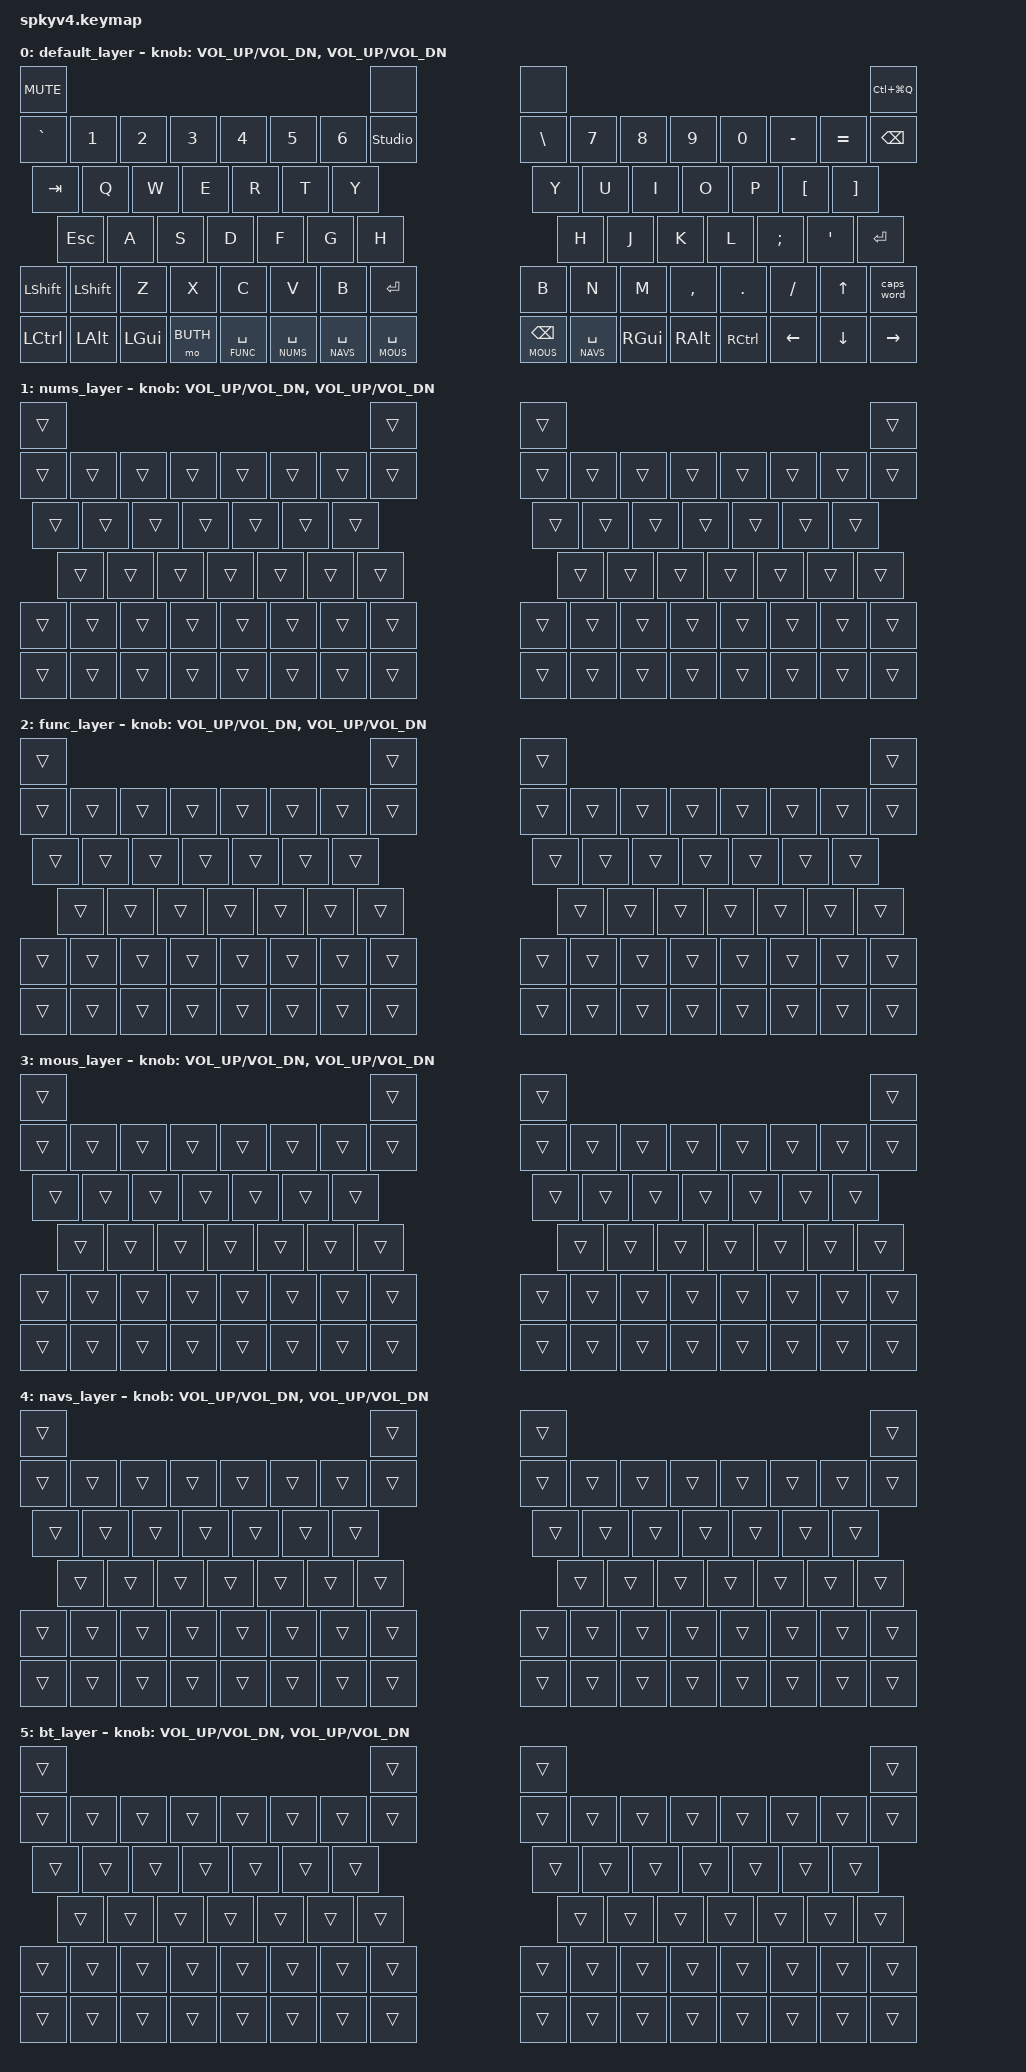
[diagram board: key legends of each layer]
#include <behaviors.dtsi>
#include <dt-bindings/zmk/keys.h>
#include <dt-bindings/zmk/bt.h>
#include <dt-bindings/zmk/pointing.h>


#define HYP LS(LC(LA(LGUI)))
#define MEH LS(LC(LALT))
#define LOCK LC(LG(Q))

#define BASE    0
#define NAVS    4
#define MOUS    3
#define FUNC    2
#define NUMS    1
#define BUTH    5

#define COMBO(NAME, BINDINGS, KEYPOS) \
  combo_##NAME { \
    timeout-ms = <50>; \
    bindings = <BINDINGS>; \
    key-positions = <KEYPOS>; \
    require-prior-idle-ms = <150>; \
    layers = <0>; \
  };

// RC(2,0)                                                 RC(1,7)          RC(2,8)                                                      RC(1,15)
// RC(0,0) RC(0,1) RC(0,2) RC(0,3) RC(0,4) RC(0,5) RC(0,6) RC(0,7)          RC(0,8) RC(0,9) RC(0,10) RC(0,11) RC(0,12) RC(0,13) RC(0,14) RC(0,15)
//   RC(1,0) RC(1,1) RC(1,2) RC(1,3) RC(1,4) RC(1,5) RC(1,6)                    RC(1,8) RC(1,9) RC(1,10) RC(1,11) RC(1,12) RC(1,13) RC(1,14)
//      RC(2,1) RC(2,2) RC(2,3) RC(2,4) RC(2,5) RC(2,6) RC(2,7)                    RC(2,9) RC(2,10) RC(2,11) RC(2,12) RC(2,13) RC(2,14) RC(2,15)
//  RC(3,0) RC(3,1) RC(3,2) RC(3,3) RC(3,4) RC(3,5) RC(3,6) RC(3,7)          RC(3,8) RC(3,9) RC(3,10) RC(3,11) RC(3,12) RC(3,13) RC(3,14) RC(3,15)
//  RC(4,0) RC(4,1) RC(4,2) RC(4,3) RC(4,4) RC(4,5) RC(4,6) RC(4,7)          RC(4,8) RC(4,9) RC(4,10) RC(4,11) RC(4,12) RC(4,13) RC(4,14) RC(4,15)

/ {

        combos {
                compatible = "zmk,combos";
                      
                COMBO(lbkt, &kp LBKT, 42 43)
                COMBO(rbkt, &kp RBKT, 43 44)

                COMBO(lpar, &kp LPAR, 28 29)
                COMBO(rpar, &kp RPAR, 29 30)

        };

        keymap {
                compatible = "zmk,keymap";

                default_layer {
                        bindings = <
&kp C_MUTE                                                                                         &none                     &none                                                                                               &kp LOCK
&kp GRAVE   &kp N1      &kp N2      &kp N3      &kp N4           &kp N5            &kp N6          &studio_unlock            &kp BSLH        &kp N7          &kp N8      &kp N9      &kp N0      &kp MINUS       &kp EQUAL       &kp BSPC
    &kp TAB     &kp Q       &kp W       &kp E       &kp R           &kp T            &kp Y                                     &kp Y           &kp U           &kp I       &kp O       &kp P       &kp LBKT        &kp RBKT
        &kp ESC    &kp A       &kp S       &kp D       &kp F           &kp G            &kp H                                     &kp H           &kp J            &kp K       &kp L       &kp SEMI    &kp SQT         &kp ENTER
&kp LSHFT   &kp LSHFT   &kp Z       &kp X       &kp C            &kp V             &kp B           &kp ENTER                 &kp B           &kp N           &kp M       &kp COMMA   &kp DOT     &kp FSLH        &kp UP          &caps_word
&kp LCTRL   &kp LALT    &kp LGUI    &mo BUTH    &lt FUNC SPACE   &lt NUMS SPACE    &lt NAVS SPACE  &lt MOUS SPACE            &lt MOUS BSPC   &lt NAVS SPACE  &kp RGUI    &kp RALT    &kp RCTRL   &kp LEFT        &kp DOWN        &kp RIGHT
                        >;

                        sensor-bindings = <&inc_dec_kp C_VOL_UP C_VOL_DN            &inc_dec_kp C_VOL_UP C_VOL_DN>;
                };


                nums_layer {
                        bindings = <
&trans                                                                                                          &trans                  &trans                                                                                      &trans
&trans          &trans          &trans          &trans          &trans          &trans          &trans          &trans                  &trans      &trans      &trans      &trans      &trans      &trans          &trans          &trans
    &trans         &trans          &trans           &trans         &trans          &trans          &trans                                   &trans      &trans      &trans      &trans      &trans      &trans          &trans
        &trans         &trans           &trans          &trans          &trans          &trans         &trans                                  &trans      &trans      &trans      &trans      &trans      &trans          &trans
&trans          &trans          &trans          &trans          &trans          &trans          &trans          &trans                  &trans      &trans      &trans      &trans      &trans      &trans          &trans          &trans
&trans          &trans          &trans          &trans          &trans          &trans          &trans          &trans                  &trans      &trans      &trans      &trans      &trans      &trans          &trans          &trans
                        >;

                        sensor-bindings = <&inc_dec_kp C_VOL_UP C_VOL_DN            &inc_dec_kp C_VOL_UP C_VOL_DN>;
                };

                func_layer {
                        bindings = <
&trans                                                                                                          &trans                  &trans                                                                                      &trans
&trans          &trans          &trans          &trans          &trans          &trans          &trans          &trans                  &trans      &trans      &trans      &trans      &trans      &trans          &trans          &trans
    &trans         &trans          &trans           &trans         &trans          &trans          &trans                                   &trans      &trans      &trans      &trans      &trans      &trans          &trans
        &trans         &trans           &trans          &trans          &trans          &trans         &trans                                  &trans      &trans      &trans      &trans      &trans      &trans          &trans
&trans          &trans          &trans          &trans          &trans          &trans          &trans          &trans                  &trans      &trans      &trans      &trans      &trans      &trans          &trans          &trans
&trans          &trans          &trans          &trans          &trans          &trans          &trans          &trans                  &trans      &trans      &trans      &trans      &trans      &trans          &trans          &trans
                        >;

                        sensor-bindings = <&inc_dec_kp C_VOL_UP C_VOL_DN            &inc_dec_kp C_VOL_UP C_VOL_DN>;
                };

                mous_layer {
                        bindings = <
&trans                                                                                                          &trans                  &trans                                                                                      &trans
&trans          &trans          &trans          &trans          &trans          &trans          &trans          &trans                  &trans      &trans      &trans      &trans      &trans      &trans          &trans          &trans
    &trans         &trans          &trans           &trans         &trans          &trans          &trans                                   &trans      &trans      &trans      &trans      &trans      &trans          &trans
        &trans         &trans           &trans          &trans          &trans          &trans         &trans                                  &trans      &trans      &trans      &trans      &trans      &trans          &trans
&trans          &trans          &trans          &trans          &trans          &trans          &trans          &trans                  &trans      &trans      &trans      &trans      &trans      &trans          &trans          &trans
&trans          &trans          &trans          &trans          &trans          &trans          &trans          &trans                  &trans      &trans      &trans      &trans      &trans      &trans          &trans          &trans
                        >;

                        sensor-bindings = <&inc_dec_kp C_VOL_UP C_VOL_DN            &inc_dec_kp C_VOL_UP C_VOL_DN>;
                };

                navs_layer {
                        bindings = <
&trans                                                                                                          &trans                  &trans                                                                                      &trans
&trans          &trans          &trans          &trans          &trans          &trans          &trans          &trans                  &trans      &trans      &trans      &trans      &trans      &trans          &trans          &trans
    &trans         &trans          &trans           &trans         &trans          &trans          &trans                                   &trans      &trans      &trans      &trans      &trans      &trans          &trans
        &trans         &trans           &trans          &trans          &trans          &trans         &trans                                  &trans      &trans      &trans      &trans      &trans      &trans          &trans
&trans          &trans          &trans          &trans          &trans          &trans          &trans          &trans                  &trans      &trans      &trans      &trans      &trans      &trans          &trans          &trans
&trans          &trans          &trans          &trans          &trans          &trans          &trans          &trans                  &trans      &trans      &trans      &trans      &trans      &trans          &trans          &trans
                        >;

                        sensor-bindings = <&inc_dec_kp C_VOL_UP C_VOL_DN            &inc_dec_kp C_VOL_UP C_VOL_DN>;
                };


                bt_layer {
                        bindings = <
&trans                                                                                                          &trans                  &trans                                                                                      &trans
&trans          &trans          &trans          &trans          &trans          &trans          &trans          &trans                  &trans      &trans      &trans      &trans      &trans      &trans          &trans          &trans
    &trans         &trans          &trans           &trans         &trans          &trans          &trans                                   &trans      &trans      &trans      &trans      &trans      &trans          &trans
        &trans         &trans           &trans          &trans          &trans          &trans         &trans                                  &trans      &trans      &trans      &trans      &trans      &trans          &trans
&trans          &trans          &trans          &trans          &trans          &trans          &trans          &trans                  &trans      &trans      &trans      &trans      &trans      &trans          &trans          &trans
&trans          &trans          &trans          &trans          &trans          &trans          &trans          &trans                  &trans      &trans      &trans      &trans      &trans      &trans          &trans          &trans
                        >;

                        sensor-bindings = <&inc_dec_kp C_VOL_UP C_VOL_DN            &inc_dec_kp C_VOL_UP C_VOL_DN>;
                };



        };
};
